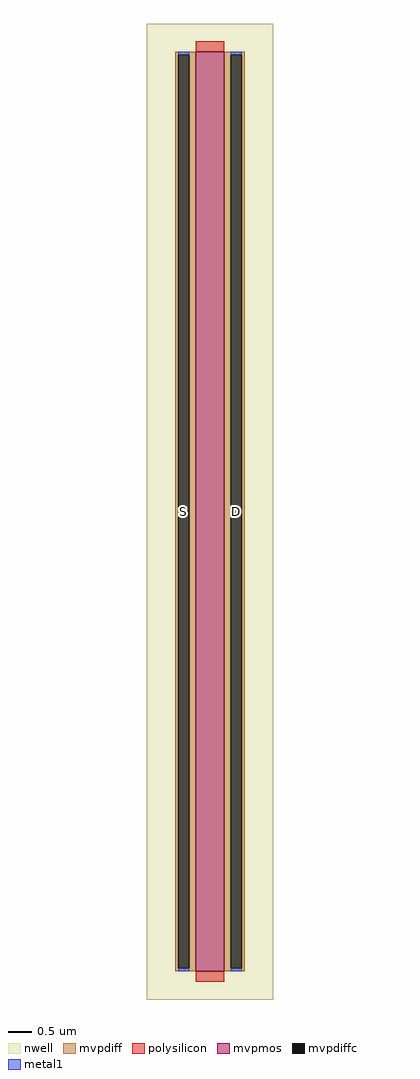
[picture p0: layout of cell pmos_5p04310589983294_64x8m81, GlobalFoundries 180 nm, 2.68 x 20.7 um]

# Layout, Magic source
magic
tech gf180mcuC
magscale 1 10
<< nwell >>
rect -208 -120 328 4020
<< mvpmos >>
rect 0 0 120 3900
<< mvpdiff >>
rect -88 3887 0 3900
rect -88 13 -75 3887
rect -29 13 0 3887
rect -88 0 0 13
rect 120 3887 208 3900
rect 120 13 149 3887
rect 195 13 208 3887
rect 120 0 208 13
<< mvpdiffc >>
rect -75 13 -29 3887
rect 149 13 195 3887
<< polysilicon >>
rect 0 3900 120 3944
rect 0 -44 120 0
<< metal1 >>
rect -75 3887 -29 3900
rect -75 0 -29 13
rect 149 3887 195 3900
rect 149 0 195 13
<< labels >>
flabel metal1 s -52 1950 -52 1950 0 FreeSans 400 0 0 0 S
flabel metal1 s 172 1950 172 1950 0 FreeSans 400 0 0 0 D
<< properties >>
string GDS_END 368658
string GDS_FILE $PDKPATH/libs.ref/gf180mcu_fd_ip_sram/gds/gf180mcu_fd_ip_sram__sram64x8m8wm1.gds
string GDS_START 362706
<< end >>
